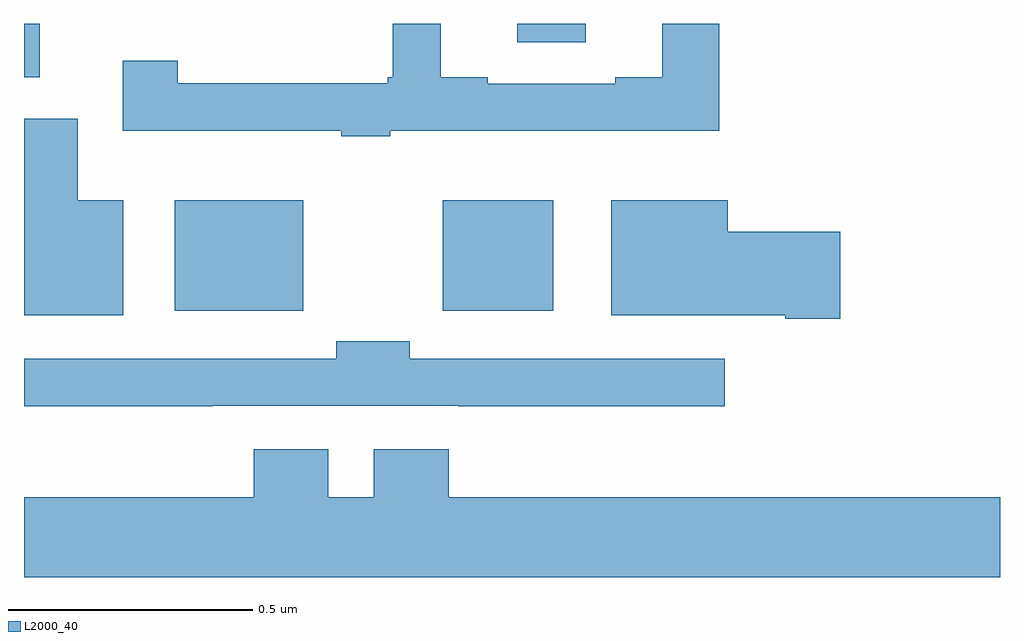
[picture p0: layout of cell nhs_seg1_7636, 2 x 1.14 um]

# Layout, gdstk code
import gdstk
lib = gdstk.Library(unit=1e-6, precision=1e-09)
def R(c, l, rs):  # rectangles x0, y0, x1, y1
    for r in rs: c.add(gdstk.rectangle(r[:2], r[2:], *l))
def P(c, l, *ps):  # polygons
    for p in ps: c.add(gdstk.Polygon(p, *l))
L2000_40 = (2000, 40)

nhs_seg1_7636 = lib.new_cell('nhs_seg1_7636')
R(nhs_seg1_7636, L2000_40, [(206.309,553.61,206.572,553.837), (206.858,553.61,207.085,553.837), (206,554.089,206.032,554.199), (207.011,554.161,207.151,554.199)])
P(nhs_seg1_7636, L2000_40, [(206.75,553.979),(207.425,553.979),(207.425,554.199),(207.308,554.199),(207.308,554.089),(207.212,554.089),(207.212,554.076),(206.95,554.076),(206.95,554.089),(206.854,554.089),(206.854,554.199),(206.756,554.199),(206.756,554.089),(206.745,554.089),(206.745,554.077),(206.315,554.077),(206.315,554.123),(206.202,554.123),(206.202,553.979),(206.65,553.979),(206.65,553.968),(206.75,553.968)],
  [(206.203,553.837),(206.11,553.837),(206.11,554.004),(206,554.004),(206,553.601),(206.203,553.601)],
  [(207.673,553.772),(207.442,553.772),(207.442,553.837),(207.203,553.837),(207.203,553.601),(207.56,553.601),(207.56,553.594),(207.673,553.594)],
  [(206.387,553.416),(206.89,553.416),(206.89,553.415),(207.436,553.415),(207.436,553.512),(206.79,553.512),(206.79,553.548),(206.64,553.548),(206.64,553.512),(206,553.512),(206,553.415),(206.387,553.415)],
  [(206.717,553.327),(206.717,553.228),(206.623,553.228),(206.623,553.327),(206.471,553.327),(206.471,553.228),(206,553.228),(206,553.064),(208,553.064),(208,553.228),(206.87,553.228),(206.87,553.327)])

lib.write_gds('nhs_seg1_7636.gds')
